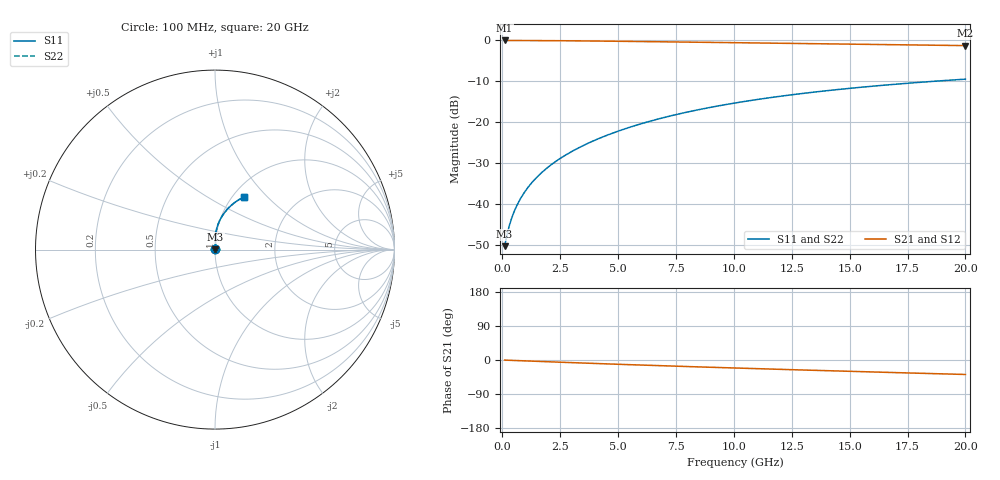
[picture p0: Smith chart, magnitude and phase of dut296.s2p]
! Touchstone file exported from HFSS 2024.1.0
!  File:  C:/UserFiles/LocalFiles/RDL_TSV_Batchsim/temp_RDL_bottom_296_1778703599.aedt
!  Generated:  04:22:18 AM May 14, 2026
!  Design:  RDL_bottom
!  Project:  temp_RDL_bottom_296_1778703599
!  Setup:  Setup1
!  Solution:  Sweep
! Variables:
!  dtsv = 10.80580581um
!  hbump = 3um
!  htsv = 52.03um
!  ldown = 544.48um
!  lrdl = 100um
!  p = 40
!  p1 = 53.34um
!  rhole = 1um
!  t = 450um
!  tdown = 3.07um
!  trdl = 3.915915916um
!  wdown = 26.47um
!  wrdl = 20um
# GHz S MA R 50.000000
! Terminal data exported
! Port[1] = RDL1_T1
! Port[2] = RDL1_T2
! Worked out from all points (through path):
!   200 points, 100 MHz to 20 GHz, reference 50 ohm
!   highest |S21| = -0.02 dB at 100 MHz (marker M1); lowest = -1.3 dB at 20 GHz (marker M2)
!   group delay of S21, straight-line fit = 5.23 ps
!   lowest |S11| = -50.2 dB at 100 MHz (marker M3), VSWR 1.01, Z = 50.3 + j0.163 ohm
!   |S11| at or under -10 dB: start of sweep to 18.58 GHz
!   |S22| runs from -50.2 to -9.5 dB; largest |S21 - S12| = 4.1e-15
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0.1  0.003098 31.5  0.9973 -0.3  0.9973 -0.3  0.003098 31.5
! Gamma 0 0 0 0
! Port Impedance 50 0 50 0
0.2  0.004208 48.7  0.9972 -0.5  0.9972 -0.5  0.004208 48.7
0.3  0.005467 57.7  0.997 -0.7  0.997 -0.7  0.005466 57.7
0.4  0.006747 63.3  0.9967 -1.0  0.9967 -1.0  0.006746 63.3
0.5  0.008031 67.2  0.9965 -1.2  0.9965 -1.2  0.008031 67.2
0.6  0.009324 70.2  0.9963 -1.4  0.9963 -1.4  0.009324 70.2
0.8  0.01195 74.6  0.9959 -1.9  0.9959 -1.9  0.01195 74.6
1.1  0.01599 78.8  0.9952 -2.6  0.9952 -2.6  0.01599 78.8
1.3  0.01876 80.8  0.9947 -3.1  0.9947 -3.1  0.01876 80.8
1.6  0.02299 82.9  0.9938 -3.8  0.9938 -3.8  0.02299 82.9
2.1  0.03029 85.3  0.9919 -4.9  0.9919 -4.9  0.03029 85.3
2.7  0.03943 86.9  0.9892 -6.3  0.9892 -6.3  0.03943 86.9
3.5  0.05228 88.0  0.9847 -8.1  0.9847 -8.1  0.05228 88.0
4.2  0.06408 88.2  0.9803 -9.6  0.9803 -9.6  0.06409 88.2
5  0.07814 87.9  0.9749 -11.3  0.9749 -11.3  0.07814 87.9
5.9  0.0945 87.1  0.9684 -13.2  0.9684 -13.2  0.0945 87.1
6.8  0.1112 85.8  0.9616 -15.0  0.9616 -15.0  0.1113 85.9
8.4  0.1414 83.1  0.9495 -18.1  0.9495 -18.1  0.1415 83.1
10.1  0.1734 79.9  0.9366 -21.2  0.9366 -21.2  0.1734 79.9
13.4  0.2329 73.3  0.9119 -27.2  0.9119 -27.2  0.2329 73.3
16.7  0.2876 66.9  0.8874 -32.8  0.8874 -32.8  0.2876 66.9
20  0.3366 60.9  0.8631 -38.2  0.8631 -38.2  0.3367 60.9
